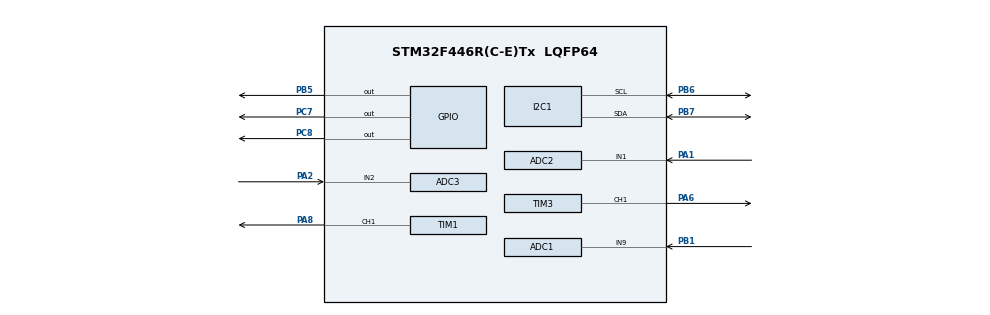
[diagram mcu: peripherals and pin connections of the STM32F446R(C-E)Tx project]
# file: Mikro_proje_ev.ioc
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ADC1.Channel-0\#ChannelRegularConversion=ADC_CHANNEL_9
ADC1.ContinuousConvMode=ENABLE
ADC1.NbrOfConversionFlag=1
ADC1.Rank-0\#ChannelRegularConversion=1
ADC1.SamplingTime-0\#ChannelRegularConversion=ADC_SAMPLETIME_3CYCLES
ADC1.master=1
ADC2.Channel-0\#ChannelRegularConversion=ADC_CHANNEL_1
ADC2.NbrOfConversionFlag=1
ADC2.Rank-0\#ChannelRegularConversion=1
ADC2.SamplingTime-0\#ChannelRegularConversion=ADC_SAMPLETIME_3CYCLES
ADC3.Channel-1\#ChannelRegularConversion=ADC_CHANNEL_2
ADC3.NbrOfConversionFlag=1
ADC3.Rank-1\#ChannelRegularConversion=1
ADC3.SamplingTime-1\#ChannelRegularConversion=ADC_SAMPLETIME_3CYCLES
Mcu.Family=STM32F4
Mcu.Name=STM32F446R(C-E)Tx
Mcu.Package=LQFP64
NVIC.ADC_IRQn=true\:0\:0\:false\:false\:true\:true\:true\:true
NVIC.PriorityGroup=NVIC_PRIORITYGROUP_4
NVIC.TIM3_IRQn=true\:0\:0\:false\:false\:true\:true\:true\:true
PA1.Signal=ADCx_IN1
PA13.Mode=Serial_Wire
PA13.Signal=SYS_JTMS-SWDIO
PA14.Mode=Serial_Wire
PA14.Signal=SYS_JTCK-SWCLK
PA2.Signal=ADCx_IN2
PA6.Signal=S_TIM3_CH1
PA8.Signal=S_TIM1_CH1
PB1.Signal=ADCx_IN9
PB5.Signal=GPIO_Output
PB6.Mode=I2C
PB6.Signal=I2C1_SCL
PB7.Mode=I2C
PB7.Signal=I2C1_SDA
PC7.Signal=GPIO_Output
PC8.Signal=GPIO_Output
ProjectManager.HeapSize=0x200
ProjectManager.StackSize=0x400
ProjectManager.TargetToolchain=MDK-ARM V5.32
RCC.CortexFreq_Value=16000000
RCC.USBFreq_Value=96000000
RCC.VCOOutputFreq_Value=192000000
SH.ADCx_IN1.0=ADC2_IN1,IN1
SH.ADCx_IN2.0=ADC3_IN2,IN2
SH.ADCx_IN9.0=ADC1_IN9,IN9
SH.S_TIM1_CH1.0=TIM1_CH1,PWM Generation1 CH1
SH.S_TIM3_CH1.0=TIM3_CH1,PWM Generation1 CH1
TIM1.Channel-PWM\ Generation1\ CH1=TIM_CHANNEL_1
TIM1.Period=31999
TIM1.Prescaler=9
TIM3.Channel-PWM\ Generation1\ CH1=TIM_CHANNEL_1
TIM3.Period=1998
TIM3.Prescaler=318
TIM3.Pulse-PWM\ Generation1\ CH1=1000
board=custom

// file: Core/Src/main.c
/* USER CODE BEGIN Header */
/**
  ******************************************************************************
  * @file           : main.c
  * @brief          : Main program body
  ******************************************************************************
  * @attention
  *
  * Copyright (c) 2024 STMicroelectronics.
  * All rights reserved.
  *
  * This software is licensed under terms that can be found in the LICENSE file
  * in the root directory of this software component.
  * If no LICENSE file comes with this software, it is provided AS-IS.
  *
  ******************************************************************************
  */
/* USER CODE END Header */
#include "main.h"

/* USER CODE BEGIN Includes */
#include "liquidcrystal_i2c.h"
#include <stdio.h>
#include <string.h>
/* USER CODE END Includes */

/* USER CODE BEGIN PD */

#define SERVO_ANGLE_0 1600  // 0 derece için uygun PWM pulse genisligi
#define SERVO_ANGLE_90 3200 // 90 derece için uygun PWM pulse genisligi
#define GAS_THRESHOLD 700 // Gaz sensör esigi
#define DELAY_MS(x) HAL_Delay(x)

uint16_t adcValue; //su sensörünü okumasi için
uint8_t flag=0; //su sensörü flagi
uint16_t lightValue;//isik sensörü okumasi için deger atadim

/* USER CODE END PD */

ADC_HandleTypeDef hadc1;
ADC_HandleTypeDef hadc2;
ADC_HandleTypeDef hadc3;

I2C_HandleTypeDef hi2c1;

TIM_HandleTypeDef htim1;
TIM_HandleTypeDef htim3;

/* USER CODE BEGIN PV */
void HAL_ADC_ConvCpltCallback(ADC_HandleTypeDef* hadc3){ //Su sensörü için.
adcValue= HAL_ADC_GetValue(hadc3);
	if(adcValue>200){
		flag=1;
	}else{
		flag=0;
	}
}
/* USER CODE END PV */

void SystemClock_Config(void);
static void MX_GPIO_Init(void);
static void MX_ADC1_Init(void);
static void MX_ADC2_Init(void);
static void MX_ADC3_Init(void);
static void MX_TIM1_Init(void);
static void MX_TIM3_Init(void);
static void MX_I2C1_Init(void);

/* USER CODE BEGIN 0 */

void perdeAc(){
		TIM3->CCR1=50;
		HAL_Delay(2000);
} //manuel açma kapamalar için.

void perdeKapa(){
			TIM3->CCR1=100; //9'dan sonra 180 derece
			HAL_Delay(2000);
}

void isikKontrol(){
		HAL_ADC_PollForConversion(&hadc1,1000); //LDR okudugu veri bozulmasin diye eoc flag kontrolü yapiyoruz.
    lightValue = HAL_ADC_GetValue(&hadc1);

		if(lightValue<350){ //5'e kadar Servo 0 konumunda
		perdeAc();
		}
		else if (lightValue>350 && lightValue <1800 ){
		TIM3->CCR1=75; //5 ten 9 a kadar 90 derecede
		HAL_Delay(2000);
		}
		else if(lightValue > 1800){ //9'dan sonra 180 derecede.
		perdeKapa();
		}
}

void suKontrol(){
			if(flag==1){
			HAL_GPIO_TogglePin(GPIOB,GPIO_PIN_5);//BUZZER TETIKLENECEK.
			HAL_GPIO_TogglePin(GPIOC,GPIO_PIN_8);//Acil durum isigi 1 yan sön yapacak.
			HAL_GPIO_TogglePin(GPIOC,GPIO_PIN_7);//Acil durum isigi 2 yan sön yapacak.
			HAL_Delay(3000);
		}
		else{
			HAL_GPIO_WritePin(GPIOB,GPIO_PIN_5,GPIO_PIN_RESET);//BUZZER susacak.
			HAL_GPIO_WritePin(GPIOC,GPIO_PIN_8,GPIO_PIN_RESET);//Acil durum isigi 1 sönecek.
			HAL_GPIO_WritePin(GPIOC,GPIO_PIN_7,GPIO_PIN_RESET);//Acil durum isigi 2 sönecek.
			}
			HAL_Delay(400);
}

void gazKontrol(){
	    static uint32_t adc_value = 0; // Gaz sensöründen ADC okuma

	    // Gaz sensöründen deger okumak için ADC kullanimi
	    HAL_ADC_Start(&hadc2);
	    HAL_ADC_PollForConversion(&hadc2, HAL_MAX_DELAY);
	    adc_value = HAL_ADC_GetValue(&hadc2);

	    if (adc_value > GAS_THRESHOLD){ // Eger gaz seviyesi esigin üzerindeyse
	        // Kapi Servo motoru 90 dereceye döndür
	        __HAL_TIM_SET_COMPARE(&htim1, TIM_CHANNEL_1, SERVO_ANGLE_90);

					//perdeyi açacak.
						perdeAc();
	        // LED'i yak
	        for (int i = 0; i < 40; i++)
	                {
	                    HAL_GPIO_TogglePin(GPIOC, GPIO_PIN_8); // LED
											HAL_GPIO_TogglePin(GPIOC, GPIO_PIN_7); // 2. LED
	                    HAL_GPIO_TogglePin(GPIOB, GPIO_PIN_5); // Buzzer
	                    DELAY_MS(500);
	                }
	    }
	    else{
	        //Kapi Servo motoru 0 dereceye döndür
	        __HAL_TIM_SET_COMPARE(&htim1, TIM_CHANNEL_1, SERVO_ANGLE_0);
					perdeKapa();
	        HAL_GPIO_WritePin(GPIOC, GPIO_PIN_8, GPIO_PIN_RESET);
					HAL_GPIO_WritePin(GPIOC, GPIO_PIN_7, GPIO_PIN_RESET);
	        HAL_GPIO_WritePin(GPIOB, GPIO_PIN_5, GPIO_PIN_RESET);
	    }
	}

/* USER CODE END 0 */

int main(void)
{

  /* MCU Configuration--------------------------------------------------------*/

  /* Reset of all peripherals, Initializes the Flash interface and the Systick. */
  HAL_Init();

  /* Configure the system clock */
  SystemClock_Config();

  /* Initialize all configured peripherals */
  MX_GPIO_Init();
  MX_ADC1_Init();
  MX_ADC2_Init();
  MX_ADC3_Init();
  MX_TIM1_Init();
  MX_TIM3_Init();
  MX_I2C1_Init();
  /* USER CODE BEGIN 2 */
	HAL_TIM_PWM_Start(&htim3, TIM_CHANNEL_1); // Perde Timer'i için 1.kanali aktif ediyor.
	HAL_TIM_PWM_Start(&htim1, TIM_CHANNEL_1); // Kapi için timer.
	HAL_ADC_Start(&hadc1); // LDR adcsini baslattim

  /* USER CODE END 2 */

  /* Infinite loop */
  /* USER CODE BEGIN WHILE */
  while (1)
  {

		isikKontrol();
		gazKontrol(); // Gaz sensörü için
		suKontrol();

		HAL_ADC_Start_IT(&hadc3); //Su sensörü ADC'sini baslat.
    /* USER CODE END WHILE */

  }
}

void SystemClock_Config(void)
{
  RCC_OscInitTypeDef RCC_OscInitStruct = {0};
  RCC_ClkInitTypeDef RCC_ClkInitStruct = {0};

  /** Configure the main internal regulator output voltage
  */
  __HAL_RCC_PWR_CLK_ENABLE();
  __HAL_PWR_VOLTAGESCALING_CONFIG(PWR_REGULATOR_VOLTAGE_SCALE3);

  /** Initializes the RCC Oscillators according to the specified parameters
  * in the RCC_OscInitTypeDef structure.
  */
  RCC_OscInitStruct.OscillatorType = RCC_OSCILLATORTYPE_HSI;
  RCC_OscInitStruct.HSIState = RCC_HSI_ON;
  RCC_OscInitStruct.HSICalibrationValue = RCC_HSICALIBRATION_DEFAULT;
  RCC_OscInitStruct.PLL.PLLState = RCC_PLL_NONE;
  if (HAL_RCC_OscConfig(&RCC_OscInitStruct) != HAL_OK)
  {
    Error_Handler();
  }

  /** Initializes the CPU, AHB and APB buses clocks
  */
  RCC_ClkInitStruct.ClockType = RCC_CLOCKTYPE_HCLK|RCC_CLOCKTYPE_SYSCLK
                              |RCC_CLOCKTYPE_PCLK1|RCC_CLOCKTYPE_PCLK2;
  RCC_ClkInitStruct.SYSCLKSource = RCC_SYSCLKSOURCE_HSI;
  RCC_ClkInitStruct.AHBCLKDivider = RCC_SYSCLK_DIV1;
  RCC_ClkInitStruct.APB1CLKDivider = RCC_HCLK_DIV1;
  RCC_ClkInitStruct.APB2CLKDivider = RCC_HCLK_DIV1;

  if (HAL_RCC_ClockConfig(&RCC_ClkInitStruct, FLASH_LATENCY_0) != HAL_OK)
  {
    Error_Handler();
  }
}

static void MX_ADC1_Init(void)
{

  ADC_ChannelConfTypeDef sConfig = {0};

  /** Configure the global features of the ADC (Clock, Resolution, Data Alignment and number of conversion)
  */
  hadc1.Instance = ADC1;
  hadc1.Init.ClockPrescaler = ADC_CLOCK_SYNC_PCLK_DIV2;
  hadc1.Init.Resolution = ADC_RESOLUTION_12B;
  hadc1.Init.ScanConvMode = DISABLE;
  hadc1.Init.ContinuousConvMode = ENABLE;
  hadc1.Init.DiscontinuousConvMode = DISABLE;
  hadc1.Init.ExternalTrigConvEdge = ADC_EXTERNALTRIGCONVEDGE_NONE;
  hadc1.Init.ExternalTrigConv = ADC_SOFTWARE_START;
  hadc1.Init.DataAlign = ADC_DATAALIGN_RIGHT;
  hadc1.Init.NbrOfConversion = 1;
  hadc1.Init.DMAContinuousRequests = DISABLE;
  hadc1.Init.EOCSelection = ADC_EOC_SINGLE_CONV;
  if (HAL_ADC_Init(&hadc1) != HAL_OK)
  {
    Error_Handler();
  }

  /** Configure for the selected ADC regular channel its corresponding rank in the sequencer and its sample time.
  */
  sConfig.Channel = ADC_CHANNEL_9;
  sConfig.Rank = 1;
  sConfig.SamplingTime = ADC_SAMPLETIME_3CYCLES;
  if (HAL_ADC_ConfigChannel(&hadc1, &sConfig) != HAL_OK)
  {
    Error_Handler();
  }

}

static void MX_ADC2_Init(void)
{

  ADC_ChannelConfTypeDef sConfig = {0};

  /** Configure the global features of the ADC (Clock, Resolution, Data Alignment and number of conversion)
  */
  hadc2.Instance = ADC2;
  hadc2.Init.ClockPrescaler = ADC_CLOCK_SYNC_PCLK_DIV2;
  hadc2.Init.Resolution = ADC_RESOLUTION_12B;
  hadc2.Init.ScanConvMode = DISABLE;
  hadc2.Init.ContinuousConvMode = DISABLE;
  hadc2.Init.DiscontinuousConvMode = DISABLE;
  hadc2.Init.ExternalTrigConvEdge = ADC_EXTERNALTRIGCONVEDGE_NONE;
  hadc2.Init.ExternalTrigConv = ADC_SOFTWARE_START;
  hadc2.Init.DataAlign = ADC_DATAALIGN_RIGHT;
  hadc2.Init.NbrOfConversion = 1;
  hadc2.Init.DMAContinuousRequests = DISABLE;
  hadc2.Init.EOCSelection = ADC_EOC_SINGLE_CONV;
  if (HAL_ADC_Init(&hadc2) != HAL_OK)
  {
    Error_Handler();
  }

  /** Configure for the selected ADC regular channel its corresponding rank in the sequencer and its sample time.
  */
  sConfig.Channel = ADC_CHANNEL_1;
  sConfig.Rank = 1;
  sConfig.SamplingTime = ADC_SAMPLETIME_3CYCLES;
  if (HAL_ADC_ConfigChannel(&hadc2, &sConfig) != HAL_OK)
  {
    Error_Handler();
  }

}

static void MX_ADC3_Init(void)
{

  ADC_ChannelConfTypeDef sConfig = {0};

  /** Configure the global features of the ADC (Clock, Resolution, Data Alignment and number of conversion)
  */
  hadc3.Instance = ADC3;
  hadc3.Init.ClockPrescaler = ADC_CLOCK_SYNC_PCLK_DIV2;
  hadc3.Init.Resolution = ADC_RESOLUTION_12B;
  hadc3.Init.ScanConvMode = DISABLE;
  hadc3.Init.ContinuousConvMode = DISABLE;
  hadc3.Init.DiscontinuousConvMode = DISABLE;
  hadc3.Init.ExternalTrigConvEdge = ADC_EXTERNALTRIGCONVEDGE_NONE;
  hadc3.Init.ExternalTrigConv = ADC_SOFTWARE_START;
  hadc3.Init.DataAlign = ADC_DATAALIGN_RIGHT;
  hadc3.Init.NbrOfConversion = 1;
  hadc3.Init.DMAContinuousRequests = DISABLE;
  hadc3.Init.EOCSelection = ADC_EOC_SINGLE_CONV;
  if (HAL_ADC_Init(&hadc3) != HAL_OK)
  {
    Error_Handler();
  }

  /** Configure for the selected ADC regular channel its corresponding rank in the sequencer and its sample time.
  */
  sConfig.Channel = ADC_CHANNEL_2;
  sConfig.Rank = 1;
  sConfig.SamplingTime = ADC_SAMPLETIME_3CYCLES;
  if (HAL_ADC_ConfigChannel(&hadc3, &sConfig) != HAL_OK)
  {
    Error_Handler();
  }

}

static void MX_I2C1_Init(void)
{

  hi2c1.Instance = I2C1;
  hi2c1.Init.ClockSpeed = 100000;
  hi2c1.Init.DutyCycle = I2C_DUTYCYCLE_2;
  hi2c1.Init.OwnAddress1 = 0;
  hi2c1.Init.AddressingMode = I2C_ADDRESSINGMODE_7BIT;
  hi2c1.Init.DualAddressMode = I2C_DUALADDRESS_DISABLE;
  hi2c1.Init.OwnAddress2 = 0;
  hi2c1.Init.GeneralCallMode = I2C_GENERALCALL_DISABLE;
  hi2c1.Init.NoStretchMode = I2C_NOSTRETCH_DISABLE;
  if (HAL_I2C_Init(&hi2c1) != HAL_OK)
  {
    Error_Handler();
  }

}

static void MX_TIM1_Init(void)
{

  TIM_MasterConfigTypeDef sMasterConfig = {0};
  TIM_OC_InitTypeDef sConfigOC = {0};
  TIM_BreakDeadTimeConfigTypeDef sBreakDeadTimeConfig = {0};

  htim1.Instance = TIM1;
  htim1.Init.Prescaler = 9;
  htim1.Init.CounterMode = TIM_COUNTERMODE_UP;
  htim1.Init.Period = 31999;
  htim1.Init.ClockDivision = TIM_CLOCKDIVISION_DIV1;
  htim1.Init.RepetitionCounter = 0;
  htim1.Init.AutoReloadPreload = TIM_AUTORELOAD_PRELOAD_DISABLE;
  if (HAL_TIM_PWM_Init(&htim1) != HAL_OK)
  {
    Error_Handler();
  }
  sMasterConfig.MasterOutputTrigger = TIM_TRGO_RESET;
  sMasterConfig.MasterSlaveMode = TIM_MASTERSLAVEMODE_DISABLE;
  if (HAL_TIMEx_MasterConfigSynchronization(&htim1, &sMasterConfig) != HAL_OK)
  {
    Error_Handler();
  }
  sConfigOC.OCMode = TIM_OCMODE_PWM1;
  sConfigOC.Pulse = 0;
  sConfigOC.OCPolarity = TIM_OCPOLARITY_HIGH;
  sConfigOC.OCNPolarity = TIM_OCNPOLARITY_HIGH;
  sConfigOC.OCFastMode = TIM_OCFAST_DISABLE;
  sConfigOC.OCIdleState = TIM_OCIDLESTATE_RESET;
  sConfigOC.OCNIdleState = TIM_OCNIDLESTATE_RESET;
  if (HAL_TIM_PWM_ConfigChannel(&htim1, &sConfigOC, TIM_CHANNEL_1) != HAL_OK)
  {
    Error_Handler();
  }
  sBreakDeadTimeConfig.OffStateRunMode = TIM_OSSR_DISABLE;
  sBreakDeadTimeConfig.OffStateIDLEMode = TIM_OSSI_DISABLE;
  sBreakDeadTimeConfig.LockLevel = TIM_LOCKLEVEL_OFF;
  sBreakDeadTimeConfig.DeadTime = 0;
  sBreakDeadTimeConfig.BreakState = TIM_BREAK_DISABLE;
  sBreakDeadTimeConfig.BreakPolarity = TIM_BREAKPOLARITY_HIGH;
  sBreakDeadTimeConfig.AutomaticOutput = TIM_AUTOMATICOUTPUT_DISABLE;
  if (HAL_TIMEx_ConfigBreakDeadTime(&htim1, &sBreakDeadTimeConfig) != HAL_OK)
  {
    Error_Handler();
  }
  HAL_TIM_MspPostInit(&htim1);

}

static void MX_TIM3_Init(void)
{

  TIM_MasterConfigTypeDef sMasterConfig = {0};
  TIM_OC_InitTypeDef sConfigOC = {0};

  htim3.Instance = TIM3;
  htim3.Init.Prescaler = 318;
  htim3.Init.CounterMode = TIM_COUNTERMODE_UP;
  htim3.Init.Period = 1998;
  htim3.Init.ClockDivision = TIM_CLOCKDIVISION_DIV1;
  htim3.Init.AutoReloadPreload = TIM_AUTORELOAD_PRELOAD_DISABLE;
  if (HAL_TIM_PWM_Init(&htim3) != HAL_OK)
  {
    Error_Handler();
  }
  sMasterConfig.MasterOutputTrigger = TIM_TRGO_RESET;
  sMasterConfig.MasterSlaveMode = TIM_MASTERSLAVEMODE_DISABLE;
  if (HAL_TIMEx_MasterConfigSynchronization(&htim3, &sMasterConfig) != HAL_OK)
  {
    Error_Handler();
  }
  sConfigOC.OCMode = TIM_OCMODE_PWM1;
  sConfigOC.Pulse = 1000;
  sConfigOC.OCPolarity = TIM_OCPOLARITY_HIGH;
  sConfigOC.OCFastMode = TIM_OCFAST_DISABLE;
  if (HAL_TIM_PWM_ConfigChannel(&htim3, &sConfigOC, TIM_CHANNEL_1) != HAL_OK)
  {
    Error_Handler();
  }
  HAL_TIM_MspPostInit(&htim3);

}

static void MX_GPIO_Init(void)
{
  GPIO_InitTypeDef GPIO_InitStruct = {0};

  /* GPIO Ports Clock Enable */
  __HAL_RCC_GPIOA_CLK_ENABLE();
  __HAL_RCC_GPIOB_CLK_ENABLE();
  __HAL_RCC_GPIOC_CLK_ENABLE();

  /*Configure GPIO pin Output Level */
  HAL_GPIO_WritePin(GPIOC, GPIO_PIN_7|GPIO_PIN_8, GPIO_PIN_RESET);

  /*Configure GPIO pin Output Level */
  HAL_GPIO_WritePin(GPIOB, GPIO_PIN_5, GPIO_PIN_RESET);

  /*Configure GPIO pins : PC7 PC8 */
  GPIO_InitStruct.Pin = GPIO_PIN_7|GPIO_PIN_8;
  GPIO_InitStruct.Mode = GPIO_MODE_OUTPUT_PP;
  GPIO_InitStruct.Pull = GPIO_NOPULL;
  GPIO_InitStruct.Speed = GPIO_SPEED_FREQ_LOW;
  HAL_GPIO_Init(GPIOC, &GPIO_InitStruct);

  /*Configure GPIO pin : PB5 */
  GPIO_InitStruct.Pin = GPIO_PIN_5;
  GPIO_InitStruct.Mode = GPIO_MODE_OUTPUT_PP;
  GPIO_InitStruct.Pull = GPIO_NOPULL;
  GPIO_InitStruct.Speed = GPIO_SPEED_FREQ_LOW;
  HAL_GPIO_Init(GPIOB, &GPIO_InitStruct);

}

void Error_Handler(void)
{
  __disable_irq();
  while (1)
  {
  }
}
